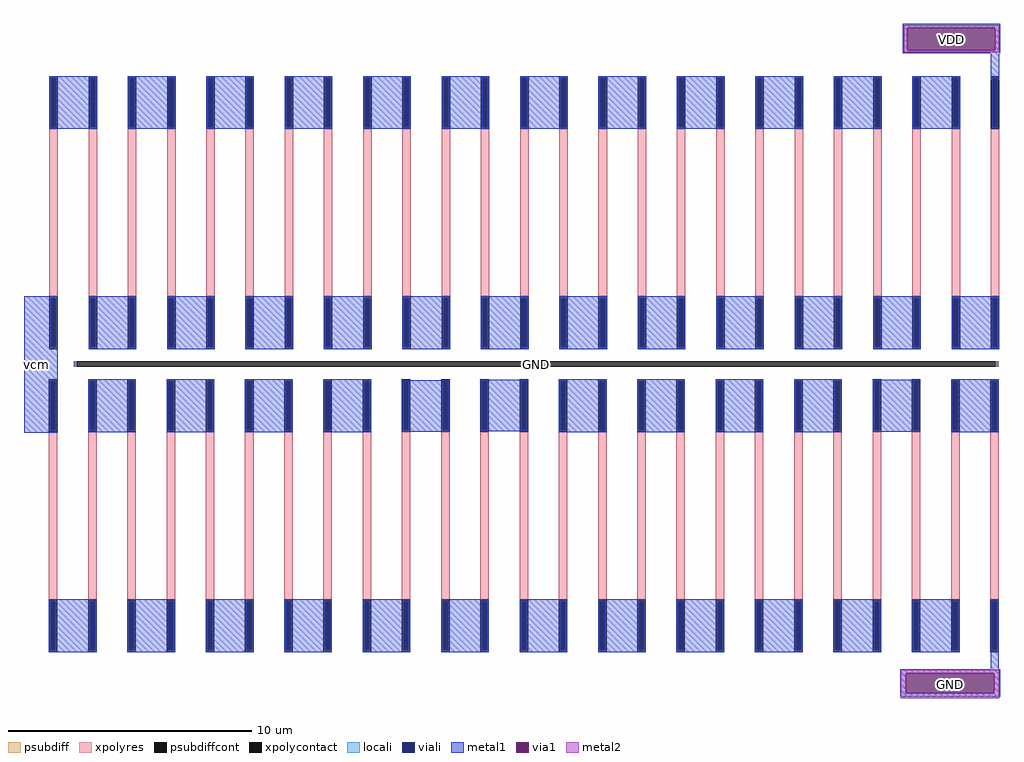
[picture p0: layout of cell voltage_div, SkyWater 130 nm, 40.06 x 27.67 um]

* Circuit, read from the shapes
.subckt voltage_div vcm GND VDD
XR1 vcm n1 GND sky130_fd_pr__res_xhigh_po w=0.35 l=6.88
XR2 n2 vcm GND sky130_fd_pr__res_xhigh_po w=0.35 l=6.88
XR3 n3 n1 GND sky130_fd_pr__res_xhigh_po w=0.35 l=6.88
XR4 n2 n4 GND sky130_fd_pr__res_xhigh_po w=0.35 l=6.88
XR5 n3 n5 GND sky130_fd_pr__res_xhigh_po w=0.35 l=6.88
XR6 n6 n4 GND sky130_fd_pr__res_xhigh_po w=0.35 l=6.88
XR7 n7 n5 GND sky130_fd_pr__res_xhigh_po w=0.35 l=6.88
XR8 n6 n8 GND sky130_fd_pr__res_xhigh_po w=0.35 l=6.88
XR9 n7 n9 GND sky130_fd_pr__res_xhigh_po w=0.35 l=6.88
XR10 n10 n8 GND sky130_fd_pr__res_xhigh_po w=0.35 l=6.88
XR11 n11 n9 GND sky130_fd_pr__res_xhigh_po w=0.35 l=6.88
XR12 n10 n12 GND sky130_fd_pr__res_xhigh_po w=0.35 l=6.88
XR13 n11 n13 GND sky130_fd_pr__res_xhigh_po w=0.35 l=6.88
XR14 n14 n12 GND sky130_fd_pr__res_xhigh_po w=0.35 l=6.88
XR15 n15 n13 GND sky130_fd_pr__res_xhigh_po w=0.35 l=6.88
XR16 n14 n16 GND sky130_fd_pr__res_xhigh_po w=0.35 l=6.88
XR17 n15 n17 GND sky130_fd_pr__res_xhigh_po w=0.35 l=6.88
XR18 n18 n16 GND sky130_fd_pr__res_xhigh_po w=0.35 l=6.88
XR19 n19 n17 GND sky130_fd_pr__res_xhigh_po w=0.35 l=6.88
XR20 n18 n20 GND sky130_fd_pr__res_xhigh_po w=0.35 l=6.88
XR21 n19 n21 GND sky130_fd_pr__res_xhigh_po w=0.35 l=6.88
XR22 n22 n20 GND sky130_fd_pr__res_xhigh_po w=0.35 l=6.88
XR23 n23 n21 GND sky130_fd_pr__res_xhigh_po w=0.35 l=6.88
XR24 n22 n24 GND sky130_fd_pr__res_xhigh_po w=0.35 l=6.88
XR25 n23 n25 GND sky130_fd_pr__res_xhigh_po w=0.35 l=6.88
XR26 n26 n24 GND sky130_fd_pr__res_xhigh_po w=0.35 l=6.88
XR27 n27 n25 GND sky130_fd_pr__res_xhigh_po w=0.35 l=6.88
XR28 n26 n28 GND sky130_fd_pr__res_xhigh_po w=0.35 l=6.88
XR29 n27 n29 GND sky130_fd_pr__res_xhigh_po w=0.35 l=6.88
XR30 n30 n28 GND sky130_fd_pr__res_xhigh_po w=0.35 l=6.88
XR31 n31 n29 GND sky130_fd_pr__res_xhigh_po w=0.35 l=6.88
XR32 n30 n32 GND sky130_fd_pr__res_xhigh_po w=0.35 l=6.88
XR33 n31 n33 GND sky130_fd_pr__res_xhigh_po w=0.35 l=6.88
XR34 n34 n32 GND sky130_fd_pr__res_xhigh_po w=0.35 l=6.88
XR35 n35 n33 GND sky130_fd_pr__res_xhigh_po w=0.35 l=6.88
XR36 n34 n36 GND sky130_fd_pr__res_xhigh_po w=0.35 l=6.88
XR37 n35 n37 GND sky130_fd_pr__res_xhigh_po w=0.35 l=6.88
XR38 n38 n36 GND sky130_fd_pr__res_xhigh_po w=0.35 l=6.88
XR39 n39 n37 GND sky130_fd_pr__res_xhigh_po w=0.35 l=6.88
XR40 n38 n40 GND sky130_fd_pr__res_xhigh_po w=0.35 l=6.88
XR41 n39 n41 GND sky130_fd_pr__res_xhigh_po w=0.35 l=6.88
XR42 n42 n40 GND sky130_fd_pr__res_xhigh_po w=0.35 l=6.88
XR43 n43 n41 GND sky130_fd_pr__res_xhigh_po w=0.35 l=6.88
XR44 n42 n44 GND sky130_fd_pr__res_xhigh_po w=0.35 l=6.88
XR45 n43 n45 GND sky130_fd_pr__res_xhigh_po w=0.35 l=6.88
XR46 n46 n44 GND sky130_fd_pr__res_xhigh_po w=0.35 l=6.88
XR47 n47 n45 GND sky130_fd_pr__res_xhigh_po w=0.35 l=6.88
XR48 n46 n48 GND sky130_fd_pr__res_xhigh_po w=0.35 l=6.88
XR49 n47 GND GND sky130_fd_pr__res_xhigh_po w=0.35 l=6.88
XR50 VDD n48 GND sky130_fd_pr__res_xhigh_po w=0.35 l=6.88
.ends

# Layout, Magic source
magic
tech sky130A
magscale 1 2
<< psubdiff >>
rect 408 -272 432 -228
rect 7976 -272 8000 -228
<< psubdiffcont >>
rect 432 -272 7976 -228
<< xpolycontact >>
rect 208 1681 278 2113
rect 208 -127 278 305
rect 530 1681 600 2113
rect 530 -127 600 305
rect 852 1681 922 2113
rect 852 -127 922 305
rect 1174 1681 1244 2113
rect 1174 -127 1244 305
rect 1496 1681 1566 2113
rect 1496 -127 1566 305
rect 1818 1681 1888 2113
rect 1818 -127 1888 305
rect 2140 1681 2210 2113
rect 2140 -127 2210 305
rect 2462 1681 2532 2113
rect 2462 -127 2532 305
rect 2784 1681 2854 2113
rect 2784 -127 2854 305
rect 3106 1681 3176 2113
rect 3106 -127 3176 305
rect 3428 1681 3498 2113
rect 3428 -127 3498 305
rect 3750 1681 3820 2113
rect 3750 -127 3820 305
rect 4072 1681 4142 2113
rect 4072 -127 4142 305
rect 4394 1681 4464 2113
rect 4394 -127 4464 305
rect 4716 1681 4786 2113
rect 4716 -127 4786 305
rect 5038 1681 5108 2113
rect 5038 -127 5108 305
rect 5360 1681 5430 2113
rect 5360 -127 5430 305
rect 5682 1681 5752 2113
rect 5682 -127 5752 305
rect 6004 1681 6074 2113
rect 6004 -127 6074 305
rect 6326 1681 6396 2113
rect 6326 -127 6396 305
rect 6648 1681 6718 2113
rect 6648 -127 6718 305
rect 6970 1681 7040 2113
rect 6970 -127 7040 305
rect 7292 1681 7362 2113
rect 7292 -127 7362 305
rect 7614 1681 7684 2113
rect 7614 -127 7684 305
rect 7936 1681 8006 2113
rect 7936 -127 8006 305
rect 204 -807 274 -375
rect 204 -2615 274 -2183
rect 526 -807 596 -375
rect 526 -2615 596 -2183
rect 848 -807 918 -375
rect 848 -2615 918 -2183
rect 1170 -807 1240 -375
rect 1170 -2615 1240 -2183
rect 1492 -807 1562 -375
rect 1492 -2615 1562 -2183
rect 1814 -807 1884 -375
rect 1814 -2615 1884 -2183
rect 2136 -807 2206 -375
rect 2136 -2615 2206 -2183
rect 2458 -807 2528 -375
rect 2458 -2615 2528 -2183
rect 2780 -807 2850 -375
rect 2780 -2615 2850 -2183
rect 3102 -807 3172 -375
rect 3102 -2615 3172 -2183
rect 3424 -807 3494 -375
rect 3424 -2615 3494 -2183
rect 3746 -807 3816 -375
rect 3746 -2615 3816 -2183
rect 4068 -807 4138 -375
rect 4068 -2615 4138 -2183
rect 4390 -807 4460 -375
rect 4390 -2615 4460 -2183
rect 4712 -807 4782 -375
rect 4712 -2615 4782 -2183
rect 5034 -807 5104 -375
rect 5034 -2615 5104 -2183
rect 5356 -807 5426 -375
rect 5356 -2615 5426 -2183
rect 5678 -807 5748 -375
rect 5678 -2615 5748 -2183
rect 6000 -807 6070 -375
rect 6000 -2615 6070 -2183
rect 6322 -807 6392 -375
rect 6322 -2615 6392 -2183
rect 6644 -807 6714 -375
rect 6644 -2615 6714 -2183
rect 6966 -807 7036 -375
rect 6966 -2615 7036 -2183
rect 7288 -807 7358 -375
rect 7288 -2615 7358 -2183
rect 7610 -807 7680 -375
rect 7610 -2615 7680 -2183
rect 7932 -807 8002 -375
rect 7932 -2615 8002 -2183
<< xpolyres >>
rect 208 305 278 1681
rect 530 305 600 1681
rect 852 305 922 1681
rect 1174 305 1244 1681
rect 1496 305 1566 1681
rect 1818 305 1888 1681
rect 2140 305 2210 1681
rect 2462 305 2532 1681
rect 2784 305 2854 1681
rect 3106 305 3176 1681
rect 3428 305 3498 1681
rect 3750 305 3820 1681
rect 4072 305 4142 1681
rect 4394 305 4464 1681
rect 4716 305 4786 1681
rect 5038 305 5108 1681
rect 5360 305 5430 1681
rect 5682 305 5752 1681
rect 6004 305 6074 1681
rect 6326 305 6396 1681
rect 6648 305 6718 1681
rect 6970 305 7040 1681
rect 7292 305 7362 1681
rect 7614 305 7684 1681
rect 7936 305 8006 1681
rect 204 -2183 274 -807
rect 526 -2183 596 -807
rect 848 -2183 918 -807
rect 1170 -2183 1240 -807
rect 1492 -2183 1562 -807
rect 1814 -2183 1884 -807
rect 2136 -2183 2206 -807
rect 2458 -2183 2528 -807
rect 2780 -2183 2850 -807
rect 3102 -2183 3172 -807
rect 3424 -2183 3494 -807
rect 3746 -2183 3816 -807
rect 4068 -2183 4138 -807
rect 4390 -2183 4460 -807
rect 4712 -2183 4782 -807
rect 5034 -2183 5104 -807
rect 5356 -2183 5426 -807
rect 5678 -2183 5748 -807
rect 6000 -2183 6070 -807
rect 6322 -2183 6392 -807
rect 6644 -2183 6714 -807
rect 6966 -2183 7036 -807
rect 7288 -2183 7358 -807
rect 7610 -2183 7680 -807
rect 7932 -2183 8002 -807
<< locali >>
rect 416 -272 432 -228
rect 7976 -272 7992 -228
<< viali >>
rect 224 1698 262 2095
rect 546 1698 584 2095
rect 868 1698 906 2095
rect 1190 1698 1228 2095
rect 1512 1698 1550 2095
rect 1834 1698 1872 2095
rect 2156 1698 2194 2095
rect 2478 1698 2516 2095
rect 2800 1698 2838 2095
rect 3122 1698 3160 2095
rect 3444 1698 3482 2095
rect 3766 1698 3804 2095
rect 4088 1698 4126 2095
rect 4410 1698 4448 2095
rect 4732 1698 4770 2095
rect 5054 1698 5092 2095
rect 5376 1698 5414 2095
rect 5698 1698 5736 2095
rect 6020 1698 6058 2095
rect 6342 1698 6380 2095
rect 6664 1698 6702 2095
rect 6986 1698 7024 2095
rect 7308 1698 7346 2095
rect 7630 1698 7668 2095
rect 7952 1698 7990 2095
rect 224 -109 262 288
rect 546 -109 584 288
rect 868 -109 906 288
rect 1190 -109 1228 288
rect 1512 -109 1550 288
rect 1834 -109 1872 288
rect 2156 -109 2194 288
rect 2478 -109 2516 288
rect 2800 -109 2838 288
rect 3122 -109 3160 288
rect 3444 -109 3482 288
rect 3766 -109 3804 288
rect 4088 -109 4126 288
rect 4410 -109 4448 288
rect 4732 -109 4770 288
rect 5054 -109 5092 288
rect 5376 -109 5414 288
rect 5698 -109 5736 288
rect 6020 -109 6058 288
rect 6342 -109 6380 288
rect 6664 -109 6702 288
rect 6986 -109 7024 288
rect 7308 -109 7346 288
rect 7630 -109 7668 288
rect 7952 -109 7990 288
rect 220 -790 258 -393
rect 542 -790 580 -393
rect 864 -790 902 -393
rect 1186 -790 1224 -393
rect 1508 -790 1546 -393
rect 1830 -790 1868 -393
rect 2152 -790 2190 -393
rect 2474 -790 2512 -393
rect 2796 -790 2834 -393
rect 3118 -790 3156 -393
rect 3440 -790 3478 -393
rect 3762 -790 3800 -393
rect 4084 -790 4122 -393
rect 4406 -790 4444 -393
rect 4728 -790 4766 -393
rect 5050 -790 5088 -393
rect 5372 -790 5410 -393
rect 5694 -790 5732 -393
rect 6016 -790 6054 -393
rect 6338 -790 6376 -393
rect 6660 -790 6698 -393
rect 6982 -790 7020 -393
rect 7304 -790 7342 -393
rect 7626 -790 7664 -393
rect 7948 -790 7986 -393
rect 220 -2597 258 -2200
rect 542 -2597 580 -2200
rect 864 -2597 902 -2200
rect 1186 -2597 1224 -2200
rect 1508 -2597 1546 -2200
rect 1830 -2597 1868 -2200
rect 2152 -2597 2190 -2200
rect 2474 -2597 2512 -2200
rect 2796 -2597 2834 -2200
rect 3118 -2597 3156 -2200
rect 3440 -2597 3478 -2200
rect 3762 -2597 3800 -2200
rect 4084 -2597 4122 -2200
rect 4406 -2597 4444 -2200
rect 4728 -2597 4766 -2200
rect 5050 -2597 5088 -2200
rect 5372 -2597 5410 -2200
rect 5694 -2597 5732 -2200
rect 6016 -2597 6054 -2200
rect 6338 -2597 6376 -2200
rect 6660 -2597 6698 -2200
rect 6982 -2597 7020 -2200
rect 7304 -2597 7342 -2200
rect 7626 -2597 7664 -2200
rect 7948 -2597 7986 -2200
<< metal1 >>
rect 7212 2512 8012 2542
rect 7212 2326 7252 2512
rect 7974 2326 8012 2512
rect 7212 2302 8012 2326
rect 208 2095 600 2114
rect 208 1698 224 2095
rect 262 1698 546 2095
rect 584 1698 600 2095
rect 208 1680 600 1698
rect 852 2095 1244 2114
rect 852 1698 868 2095
rect 906 1698 1190 2095
rect 1228 1698 1244 2095
rect 852 1680 1244 1698
rect 1496 2095 1888 2114
rect 1496 1698 1512 2095
rect 1550 1698 1834 2095
rect 1872 1698 1888 2095
rect 1496 1680 1888 1698
rect 2140 2095 2532 2114
rect 2140 1698 2156 2095
rect 2194 1698 2478 2095
rect 2516 1698 2532 2095
rect 2140 1680 2532 1698
rect 2784 2095 3176 2114
rect 2784 1698 2800 2095
rect 2838 1698 3122 2095
rect 3160 1698 3176 2095
rect 2784 1680 3176 1698
rect 3428 2095 3820 2114
rect 3428 1698 3444 2095
rect 3482 1698 3766 2095
rect 3804 1698 3820 2095
rect 3428 1680 3820 1698
rect 4072 2095 4464 2114
rect 4072 1698 4088 2095
rect 4126 1698 4410 2095
rect 4448 1698 4464 2095
rect 4072 1680 4464 1698
rect 4716 2095 5108 2114
rect 4716 1698 4732 2095
rect 4770 1698 5054 2095
rect 5092 1698 5108 2095
rect 4716 1680 5108 1698
rect 5360 2095 5752 2114
rect 5360 1698 5376 2095
rect 5414 1698 5698 2095
rect 5736 1698 5752 2095
rect 5360 1680 5752 1698
rect 6004 2095 6396 2114
rect 6004 1698 6020 2095
rect 6058 1698 6342 2095
rect 6380 1698 6396 2095
rect 6004 1680 6396 1698
rect 6648 2095 7040 2114
rect 6648 1698 6664 2095
rect 6702 1698 6986 2095
rect 7024 1698 7040 2095
rect 6648 1680 7040 1698
rect 7292 2095 7684 2114
rect 7292 1698 7308 2095
rect 7346 1698 7630 2095
rect 7668 1698 7684 2095
rect 7936 2095 8006 2302
rect 7936 2084 7952 2095
rect 7292 1680 7684 1698
rect 7946 1698 7952 2084
rect 7990 2084 8006 2095
rect 7990 1698 7996 2084
rect 7946 1686 7996 1698
rect 0 288 276 306
rect 0 -109 224 288
rect 262 -109 276 288
rect 0 -393 276 -109
rect 530 288 922 306
rect 530 -109 546 288
rect 584 -109 868 288
rect 906 -109 922 288
rect 530 -128 922 -109
rect 1174 288 1566 306
rect 1174 -109 1190 288
rect 1228 -109 1512 288
rect 1550 -109 1566 288
rect 1174 -128 1566 -109
rect 1818 288 2210 306
rect 1818 -109 1834 288
rect 1872 -109 2156 288
rect 2194 -109 2210 288
rect 1818 -128 2210 -109
rect 2462 288 2854 306
rect 2462 -109 2478 288
rect 2516 -109 2800 288
rect 2838 -109 2854 288
rect 2462 -128 2854 -109
rect 3106 288 3498 306
rect 3106 -109 3122 288
rect 3160 -109 3444 288
rect 3482 -109 3498 288
rect 3106 -128 3498 -109
rect 3750 288 4142 306
rect 3750 -109 3766 288
rect 3804 -109 4088 288
rect 4126 -109 4142 288
rect 3750 -128 4142 -109
rect 4394 288 4786 306
rect 4394 -109 4410 288
rect 4448 -109 4732 288
rect 4770 -109 4786 288
rect 4394 -128 4786 -109
rect 5038 288 5430 306
rect 5038 -109 5054 288
rect 5092 -109 5376 288
rect 5414 -109 5430 288
rect 5038 -128 5430 -109
rect 5682 288 6074 306
rect 5682 -109 5698 288
rect 5736 -109 6020 288
rect 6058 -109 6074 288
rect 5682 -128 6074 -109
rect 6326 288 6718 306
rect 6326 -109 6342 288
rect 6380 -109 6664 288
rect 6702 -109 6718 288
rect 6326 -128 6718 -109
rect 6970 288 7362 306
rect 6970 -109 6986 288
rect 7024 -109 7308 288
rect 7346 -109 7362 288
rect 6970 -128 7362 -109
rect 7614 288 8006 306
rect 7614 -109 7630 288
rect 7668 -109 7952 288
rect 7990 -109 8006 288
rect 7614 -128 8006 -109
rect 0 -790 220 -393
rect 258 -790 276 -393
rect 0 -812 276 -790
rect 526 -393 918 -374
rect 526 -790 542 -393
rect 580 -790 864 -393
rect 902 -790 918 -393
rect 526 -808 918 -790
rect 1170 -393 1562 -374
rect 1170 -790 1186 -393
rect 1224 -790 1508 -393
rect 1546 -790 1562 -393
rect 1170 -808 1562 -790
rect 1814 -393 2206 -374
rect 1814 -790 1830 -393
rect 1868 -790 2152 -393
rect 2190 -790 2206 -393
rect 1814 -808 2206 -790
rect 2458 -393 2850 -374
rect 2458 -790 2474 -393
rect 2512 -790 2796 -393
rect 2834 -790 2850 -393
rect 2458 -808 2850 -790
rect 3106 -393 3490 -382
rect 3106 -790 3118 -393
rect 3156 -790 3440 -393
rect 3478 -790 3490 -393
rect 3106 -804 3490 -790
rect 3750 -393 4134 -378
rect 3750 -790 3762 -393
rect 3800 -790 4084 -393
rect 4122 -790 4134 -393
rect 3750 -800 4134 -790
rect 4390 -393 4782 -374
rect 4390 -790 4406 -393
rect 4444 -790 4728 -393
rect 4766 -790 4782 -393
rect 4390 -808 4782 -790
rect 5034 -393 5426 -374
rect 5034 -790 5050 -393
rect 5088 -790 5372 -393
rect 5410 -790 5426 -393
rect 5034 -808 5426 -790
rect 5678 -393 6070 -374
rect 5678 -790 5694 -393
rect 5732 -790 6016 -393
rect 6054 -790 6070 -393
rect 5678 -808 6070 -790
rect 6322 -393 6714 -374
rect 6322 -790 6338 -393
rect 6376 -790 6660 -393
rect 6698 -790 6714 -393
rect 6322 -808 6714 -790
rect 6968 -393 7354 -380
rect 6968 -790 6982 -393
rect 7020 -790 7304 -393
rect 7342 -790 7354 -393
rect 6968 -804 7354 -790
rect 7610 -393 8002 -374
rect 7610 -790 7626 -393
rect 7664 -790 7948 -393
rect 7986 -790 8002 -393
rect 7610 -808 8002 -790
rect 204 -2200 596 -2182
rect 204 -2597 220 -2200
rect 258 -2597 542 -2200
rect 580 -2597 596 -2200
rect 204 -2616 596 -2597
rect 848 -2200 1240 -2182
rect 848 -2597 864 -2200
rect 902 -2597 1186 -2200
rect 1224 -2597 1240 -2200
rect 848 -2616 1240 -2597
rect 1492 -2200 1884 -2182
rect 1492 -2597 1508 -2200
rect 1546 -2597 1830 -2200
rect 1868 -2597 1884 -2200
rect 1492 -2616 1884 -2597
rect 2136 -2200 2528 -2182
rect 2136 -2597 2152 -2200
rect 2190 -2597 2474 -2200
rect 2512 -2597 2528 -2200
rect 2136 -2616 2528 -2597
rect 2780 -2200 3172 -2182
rect 2780 -2597 2796 -2200
rect 2834 -2597 3118 -2200
rect 3156 -2597 3172 -2200
rect 2780 -2616 3172 -2597
rect 3424 -2200 3816 -2182
rect 3424 -2597 3440 -2200
rect 3478 -2597 3762 -2200
rect 3800 -2597 3816 -2200
rect 3424 -2616 3816 -2597
rect 4068 -2200 4460 -2182
rect 4068 -2597 4084 -2200
rect 4122 -2597 4406 -2200
rect 4444 -2597 4460 -2200
rect 4068 -2616 4460 -2597
rect 4712 -2200 5104 -2182
rect 4712 -2597 4728 -2200
rect 4766 -2597 5050 -2200
rect 5088 -2597 5104 -2200
rect 4712 -2616 5104 -2597
rect 5356 -2200 5748 -2182
rect 5356 -2597 5372 -2200
rect 5410 -2597 5694 -2200
rect 5732 -2597 5748 -2200
rect 5356 -2616 5748 -2597
rect 6000 -2200 6392 -2182
rect 6000 -2597 6016 -2200
rect 6054 -2597 6338 -2200
rect 6376 -2597 6392 -2200
rect 6000 -2616 6392 -2597
rect 6644 -2200 7036 -2182
rect 6644 -2597 6660 -2200
rect 6698 -2597 6982 -2200
rect 7020 -2597 7036 -2200
rect 6644 -2616 7036 -2597
rect 7288 -2200 7680 -2182
rect 7288 -2597 7304 -2200
rect 7342 -2597 7626 -2200
rect 7664 -2597 7680 -2200
rect 7288 -2616 7680 -2597
rect 7936 -2200 8002 -2182
rect 7936 -2597 7948 -2200
rect 7986 -2597 8002 -2200
rect 7936 -2756 8002 -2597
rect 7192 -2788 8012 -2756
rect 7192 -2954 7240 -2788
rect 7964 -2954 8012 -2788
rect 7192 -2982 8012 -2954
<< via1 >>
rect 7252 2326 7974 2512
rect 7240 -2954 7964 -2788
<< metal2 >>
rect 7222 2512 8004 2532
rect 7222 2326 7252 2512
rect 7974 2326 8004 2512
rect 7222 2308 8004 2326
rect 7196 -2788 8006 -2760
rect 7196 -2954 7240 -2788
rect 7964 -2954 8006 -2788
rect 7196 -2992 8006 -2954
<< labels >>
rlabel metal1 8 -804 196 296 1 vcm
port 1 n
rlabel metal2 7212 -2982 7996 -2772 1 GND
port 2 n
rlabel metal2 7236 2316 7992 2520 1 VDD
port 3 n
rlabel psubdiffcont 432 -272 7976 -228 1 GND
port 2 n
<< end >>
